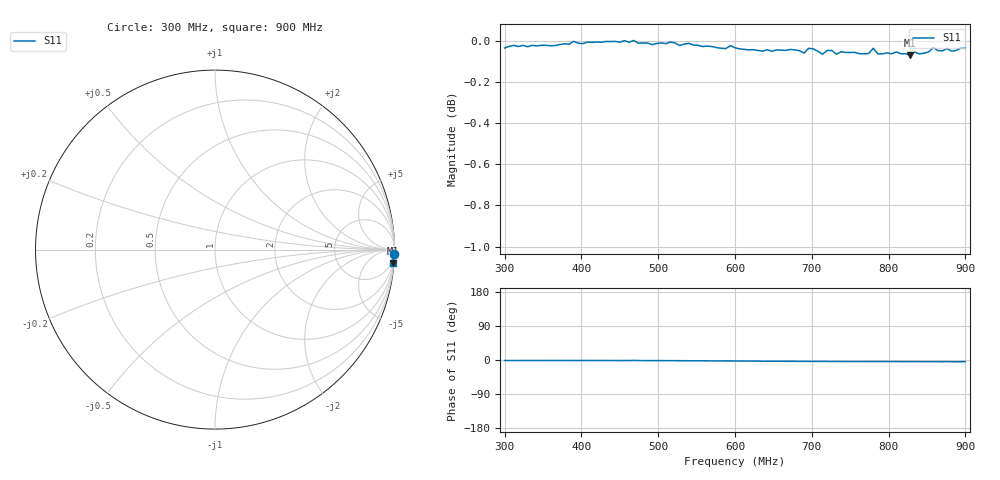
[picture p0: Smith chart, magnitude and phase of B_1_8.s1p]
# HZ S RI R 50
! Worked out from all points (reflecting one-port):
!   101 points, 300 MHz to 900 MHz, reference 50 ohm
!   lowest |S11| = -0.1 dB at 828 MHz (marker M1), VSWR 247.09, Z = 144 - j1.33e+03 ohm
!   phase of S11 starts at -1 deg and turns -3 deg over the sweep
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3e8  0.9957 -0.0246
3.78e8  0.9981 -0.0225
4.5e8  0.9989 -0.0248
4.62e8  0.9989 -0.0259
4.68e8  1 -0.0179
4.74e8  0.9984 -0.0256
5.16e8  0.9989 -0.0298
5.28e8  0.9968 -0.0328
6e8  0.9951 -0.0453
6.48e8  0.9925 -0.0566
6.78e8  0.9931 -0.0608
6.9e8  0.9912 -0.0621
6.96e8  0.9938 -0.063
7.14e8  0.9904 -0.0654
7.2e8  0.9925 -0.0657
7.32e8  0.9903 -0.0673
7.5e8  0.991 -0.0702
7.74e8  0.9904 -0.071
7.8e8  0.9931 -0.0737
7.86e8  0.9902 -0.0715
8.28e8  0.9892 -0.0738
8.34e8  0.9908 -0.0762
8.46e8  0.9901 -0.0767
8.58e8  0.9933 -0.0764
8.7e8  0.9913 -0.0783
8.76e8  0.9928 -0.0748
8.88e8  0.9912 -0.0825
9e8  0.9934 -0.0751
